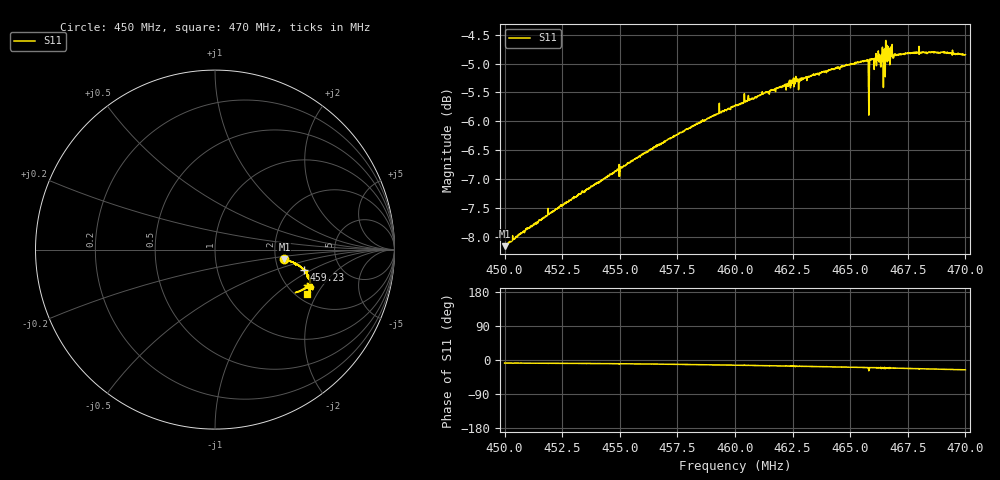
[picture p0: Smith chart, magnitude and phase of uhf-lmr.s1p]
! Calibrated averaged scanner-service zoom
# Hz S RI R 50
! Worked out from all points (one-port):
!   2001 points, 450 MHz to 470 MHz, reference 50 ohm
!   lowest |S11| = -8.2 dB at 450.01 MHz (marker M1), VSWR 2.28, Z = 112 - j14.5 ohm
!   |S11| at or under -10 dB: nowhere
!   S11 on the Smith chart (normalised r, x): 450 MHz: 2.24, -0.29; 459.23 MHz: 2.77, -0.86; 470 MHz: 2.26, -1.68
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4.5e8  0.387 -0.055
4.5001e8  0.3869 -0.0549
4.525e8  0.4183 -0.065
4.55e8  0.4472 -0.0761
4.575e8  0.4784 -0.0975
4.5923e8  0.4956 -0.1146
4.6e8  0.5026 -0.1224
4.6049e8  0.506 -0.1272
4.6071e8  0.5073 -0.1304
4.625e8  0.5194 -0.1509
4.6269e8  0.5208 -0.1575
4.6389e8  0.527 -0.1681
4.65e8  0.5306 -0.1829
4.6568e8  0.5316 -0.1925
4.6573e8  0.5323 -0.1927
4.6589e8  0.5327 -0.1947
4.6594e8  0.5327 -0.1957
4.6632e8  0.5276 -0.1855
4.6637e8  0.5354 -0.191
4.6642e8  0.5368 -0.1938
4.6645e8  0.5235 -0.199
4.6654e8  0.55 -0.2084
4.6658e8  0.543 -0.2042
4.6661e8  0.5282 -0.1987
4.6671e8  0.5341 -0.2056
4.675e8  0.5314 -0.2179
4.6809e8  0.5286 -0.2263
4.7e8  0.515 -0.2498
